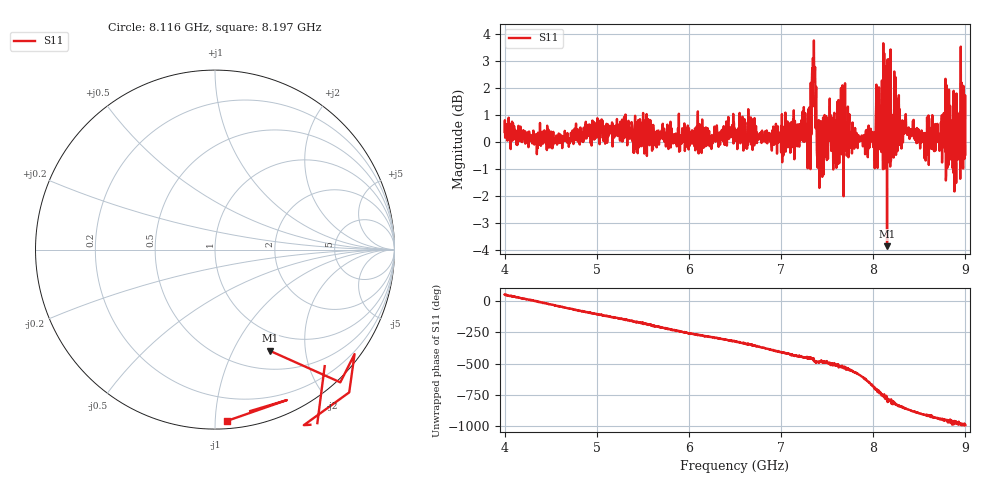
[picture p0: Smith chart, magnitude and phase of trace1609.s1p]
! Created with skrf 1.8.0 (http://scikit-rf.org).
# Hz S RI R 50.0
!freq ReS11 ImS11
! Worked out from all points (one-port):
!   1601 points, 4 GHz to 9 GHz, reference 50 ohm
!   lowest |S11| = -3.9 dB at 8.15 GHz (marker M1), VSWR 4.57, Z = 36.8 - j70.4 ohm
!   |S11| at or under -10 dB: nowhere
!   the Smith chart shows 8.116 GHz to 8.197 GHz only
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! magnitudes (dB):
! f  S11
! 4 GHz  0.4
! 4.625 GHz  -0.2
! 5.25 GHz  0.1
! 5.875 GHz  -0.1
! 6.5 GHz  0.5
! 7.125 GHz  0.3
! 7.294 GHz  0.8
! 7.359 GHz  2.6
! 7.397 GHz  -1.0
! 7.412 GHz  -0.4
! 7.509 GHz  -0.6
! 7.609 GHz  1.5
! 7.647 GHz  1.5
! 7.75 GHz  0.3
! 8 GHz  -0.2
! 8.056 GHz  0.2
! 8.081 GHz  1.3
! 8.097 GHz  0.5
! 8.15 GHz  -3.9
! 8.178 GHz  1.9
! 8.216 GHz  1.0
! 8.234 GHz  0.1
! 8.375 GHz  0.4
! 8.556 GHz  -0.6
! 8.819 GHz  0.5
! 8.875 GHz  -0.5
! 8.972 GHz  0.6
! 9 GHz  -0.5
